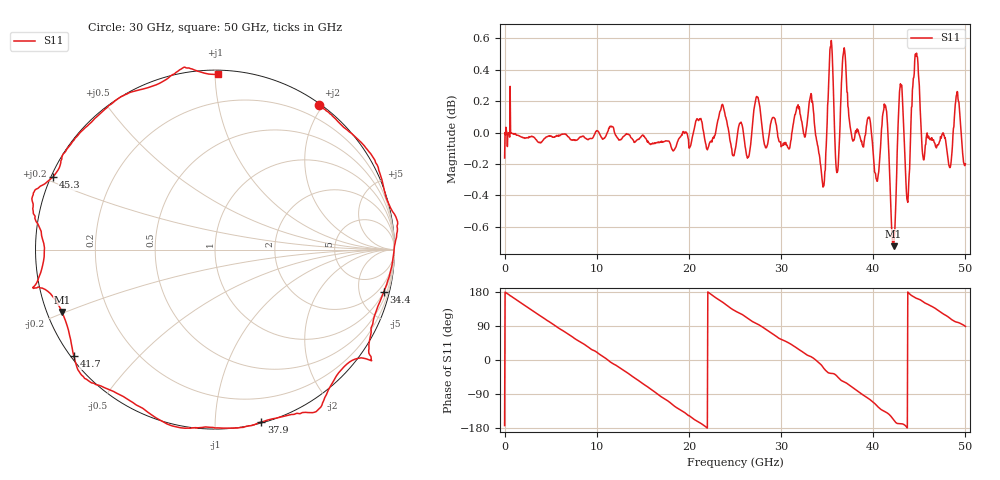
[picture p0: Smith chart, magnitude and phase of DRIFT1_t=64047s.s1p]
!Created with skrf (http://scikit-rf.org).
# Hz S RI R 50.0
!freq ReS11 ImS11
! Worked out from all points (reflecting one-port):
!   1001 points, 300 kHz to 50 GHz, reference 50 ohm
!   lowest |S11| = -0.7 dB at 42.2 GHz (marker M1), VSWR 24.01, Z = 2.16 - j9.81 ohm
!   phase of S11 starts at -173 deg and turns -818 deg over the sweep
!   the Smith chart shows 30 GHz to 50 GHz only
!   S11 on the Smith chart (normalised r, x): 30 GHz: 0.02, +1.95; 34.4 GHz: 1.02, -7.97; 37.9 GHz: 0.01, -1.31; 41.7 GHz: 0.01, -0.33; 45.3 GHz: 0.01, +0.21; 50 GHz: 0.02, +1.02
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300000  -0.9742 -0.1194
1.450291e9  -0.9126 0.4041
3.25028e9  -0.5931 0.8004
6.250262e9  0.1991 0.9789
9.500243e9  0.8883 0.45
1.250022e10  0.9309 -0.3504
1.580021e10  0.2426 -0.9613
1.74002e10  -0.222 -0.9685
1.875019e10  -0.5976 -0.7932
2.160017e10  -0.9909 -0.1353
2.345016e10  -0.9294 0.4122
2.500015e10  -0.629 0.7606
2.745014e10  -0.0846 1.023
3.000012e10  0.5773 0.8038
3.125011e10  0.7829 0.6272
3.32001e10  1.014 0.1655
3.440009e10  0.9401 -0.2357
3.520009e10  0.8631 -0.5882
3.750008e10  0.3791 -0.9298
3.790007e10  0.2589 -0.96
3.960006e10  -0.2376 -0.9826
4.170005e10  -0.7866 -0.5915
4.220005e10  -0.8516 -0.3481
4.290004e10  -1.01 -0.2163
4.375004e10  -0.95 0.00991
4.530003e10  -0.9015 0.406
4.765001e10  -0.5104 0.8577
5e10  0.0194 0.9773
